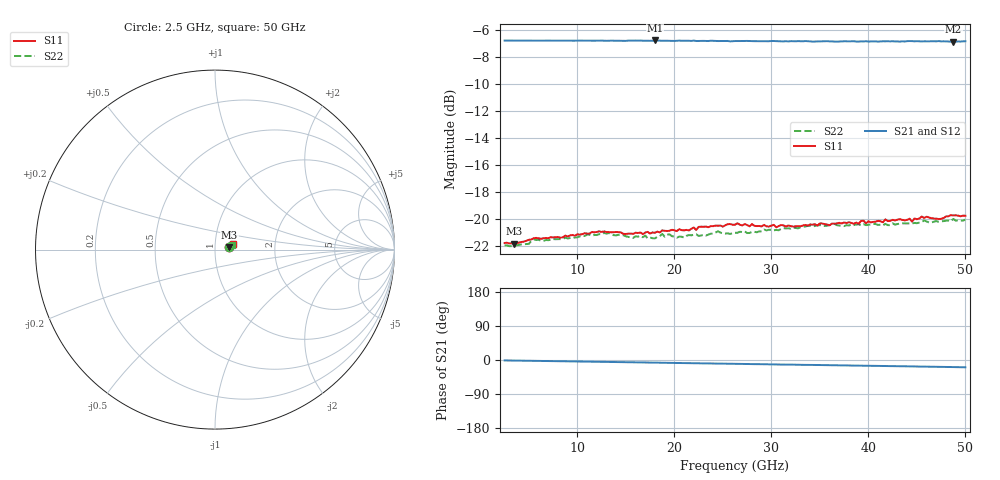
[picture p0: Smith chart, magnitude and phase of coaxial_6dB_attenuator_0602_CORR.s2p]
!Created with skrf (http://scikit-rf.org).
# Hz S RI R 50.0
!freq ReS11 ImS11 ReS21 ImS21 ReS12 ImS12 ReS22 ImS22
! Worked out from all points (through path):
!   191 points, 2.5 GHz to 50 GHz, reference 50 ohm
!   highest |S21| = -6.79 dB at 18 GHz (marker M1); lowest = -6.9 dB at 48.75 GHz (marker M2)
!   group delay of S21, straight-line fit = 1.05 ps
!   lowest |S11| = -21.8 dB at 3.5 GHz (marker M3), VSWR 1.18, Z = 58.7 + j1.67 ohm
!   |S11| at or under -10 dB: start of sweep to end of sweep
!   |S22| runs from -22.0 to -20.0 dB; largest |S21 - S12| = 0.00091
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2.5e9  0.08 0.017  0.4573 -0.00906  0.4577 -0.00904  0.0785 0.0166
3.5e9  0.0801 0.0141  0.4571 -0.0117  0.4575 -0.0117  0.0788 0.0142
5e9  0.0828 0.0143  0.4568 -0.0162  0.4573 -0.0161  0.0799 0.0144
5.5e9  0.0839 0.0143  0.4566 -0.0178  0.4569 -0.0177  0.083 0.0146
1.05e10  0.0871 0.0137  0.4556 -0.0326  0.4561 -0.0325  0.086 0.0125
1.325e10  0.0889 0.0119  0.4549 -0.0409  0.4552 -0.0408  0.0883 0.0115
1.8e10  0.0876 0.017  0.4543 -0.0552  0.4547 -0.0552  0.084 0.0136
1.85e10  0.0877 0.0177  0.4534 -0.0571  0.4539 -0.057  0.0856 0.0137
1.875e10  0.0895 0.0168  0.4526 -0.058  0.4531 -0.0582  0.0873 0.0135
2.1e10  0.089 0.0191  0.4519 -0.0644  0.4524 -0.0645  0.0845 0.014
2.45e10  0.0925 0.0203  0.4492 -0.0746  0.4496 -0.0749  0.0887 0.017
2.625e10  0.0933 0.0206  0.4484 -0.0791  0.4489 -0.079  0.0877 0.0167
3.05e10  0.0917 0.0182  0.4453 -0.0935  0.4457 -0.0933  0.0891 0.0206
3.425e10  0.0933 0.0207  0.4414 -0.1029  0.4416 -0.1031  0.0916 0.0213
3.65e10  0.0938 0.022  0.44 -0.1091  0.4402 -0.1091  0.0939 0.021
4.225e10  0.0957 0.0241  0.4363 -0.1259  0.4366 -0.1258  0.0923 0.023
4.425e10  0.0969 0.0267  0.436 -0.1312  0.4359 -0.1316  0.0936 0.0236
4.45e10  0.0948 0.025  0.4355 -0.1324  0.4352 -0.1333  0.0935 0.0243
4.55e10  0.0988 0.0269  0.4332 -0.1358  0.4334 -0.1357  0.0946 0.0249
4.725e10  0.0963 0.028  0.4326 -0.1418  0.4329 -0.1413  0.0947 0.0249
4.875e10  0.0997 0.0271  0.429 -0.1449  0.4291 -0.1455  0.0972 0.0251
5e10  0.0989 0.0292  0.4291 -0.1501  0.4293 -0.15  0.0963 0.026
